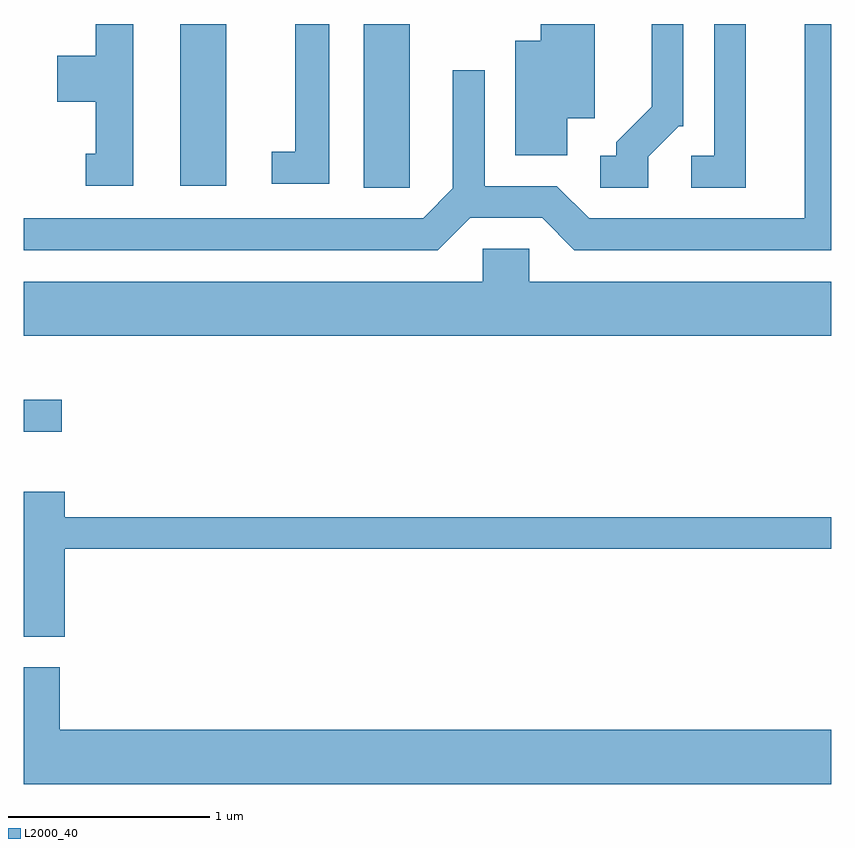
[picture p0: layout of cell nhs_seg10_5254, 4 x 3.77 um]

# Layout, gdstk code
import gdstk
lib = gdstk.Library(unit=1e-6, precision=1e-09)
def R(c, l, rs):  # rectangles x0, y0, x1, y1
    for r in rs: c.add(gdstk.rectangle(r[:2], r[2:], *l))
def P(c, l, *ps):  # polygons
    for p in ps: c.add(gdstk.Polygon(p, *l))
L2000_40 = (2000, 40)

nhs_seg10_5254 = lib.new_cell('nhs_seg10_5254')
R(nhs_seg10_5254, L2000_40, [(339.611,2164.501,339.798,2164.659), (341.296,2165.711,341.524,2166.522), (340.386,2165.721,340.614,2166.522)])
P(nhs_seg10_5254, L2000_40, [(340.154,2166.522),(339.966,2166.522),(339.966,2166.364),(339.776,2166.364),(339.776,2166.136),(339.966,2166.136),(339.966,2165.879),(339.918,2165.879),(339.918,2165.721),(340.154,2165.721)],
  [(343.189,2166.522),(343.031,2166.522),(343.031,2165.869),(342.918,2165.869),(342.918,2165.711),(343.189,2165.711)],
  [(341.822,2165.561),(342.179,2165.561),(342.339,2165.401),(343.611,2165.401),(343.611,2166.522),(343.481,2166.522),(343.481,2165.559),(342.412,2165.559),(342.252,2165.719),(341.894,2165.719),(341.894,2166.293),(341.736,2166.293),(341.736,2165.707),(341.589,2165.559),(339.611,2165.559),(339.611,2165.401),(341.662,2165.401)],
  [(342.304,2166.056),(342.439,2166.056),(342.439,2166.522),(342.171,2166.522),(342.171,2166.439),(342.046,2166.439),(342.046,2165.871),(342.304,2165.871)],
  [(341.124,2166.522),(340.956,2166.522),(340.956,2165.889),(340.838,2165.889),(340.838,2165.731),(341.124,2165.731)],
  [(342.704,2165.864),(342.857,2166.016),(342.879,2166.016),(342.879,2166.522),(342.721,2166.522),(342.721,2166.112),(342.546,2165.937),(342.546,2165.869),(342.468,2165.869),(342.468,2165.711),(342.704,2165.711)],
  [(343.611,2165.244),(342.114,2165.244),(342.114,2165.409),(341.886,2165.409),(341.886,2165.244),(339.611,2165.244),(339.611,2164.976),(343.611,2164.976)],
  [(339.814,2163.921),(343.611,2163.921),(343.611,2164.079),(339.814,2164.079),(339.814,2164.204),(339.611,2164.204),(339.611,2163.486),(339.814,2163.486)],
  [(343.611,2163.024),(339.789,2163.024),(339.789,2163.334),(339.611,2163.334),(339.611,2162.756),(343.611,2162.756)])

lib.write_gds('nhs_seg10_5254.gds')
